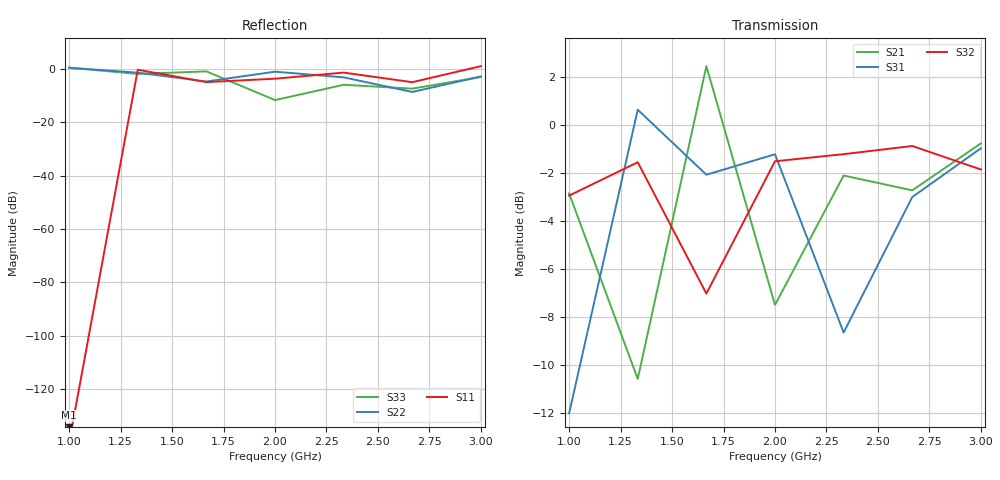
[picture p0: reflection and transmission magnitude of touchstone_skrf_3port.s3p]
! Created with skrf 1.9.0 (http://scikit-rf.org).
# Hz S RI R 50.0
!freq ReS11 ImS11 ReS12 ImS12 ReS13 ImS13
! ReS21 ImS21 ReS22 ImS22 ReS23 ImS23
! ReS31 ImS31 ReS32 ImS32 ReS33 ImS33
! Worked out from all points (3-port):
!   7 points, 1 GHz to 3 GHz, reference 50 ohm
!   strongest paths, dB at 1 GHz, 1.333 GHz, 2 GHz, 2.667 GHz, 3 GHz:
!     S32: -2.9, -1.5, -1.5, -0.9, -1.8
!     S31: -12.0, 0.6, -1.2, -3.0, -1.0
!     S21: -2.8, -10.6, -7.5, -2.7, -0.8
!   lowest |S11| = -140.0 dB at 1 GHz (marker M1), VSWR 1.00, Z = 50 - j2.5e-10 ohm
!   |S11| at or under -10 dB: start of sweep to 1.31 GHz
1e9  1e-07 -2.5e-12  -0.5264 0.8422  0 0
     0.1643 0.7018  -0.8117 -0.662  -0.1337 0.9287
     -0.0419 0.2474  -0.6805 0.2138  0.4692 0.9411
1.333333e9  -0.7727 0.5741  -0.2175 0.5798  0 0
            -0.1387 -0.2614  0.1736 -0.8302  0.4757 -0.6129
            0.9125 -0.5723  -0.4316 0.7173  0.2971 -0.7465
1.666667e9  0.3924 -0.4065  -0.4146 -0.0143  0 0
            0.9469 0.9305  -0.4032 0.4163  -0.372 -0.5726
            0.7834 0.09  0.1703 0.4119  -0.0574 -0.8962
2e9  0.5466 0.3598  -0.9393 -0.2634  0 0
     -0.2515 0.3391  -0.8183 0.3383  0.321 0.0461
     0.8629 0.1095  -0.5856 -0.6037  0.2602 -0.00963
2.333333e9  -0.4037 -0.7492  0.4835 -0.0385  0 0
            -0.5626 0.5482  0.6598 -0.2127  0.3153 -0.9608
            0.3656 0.0555  0.6402 -0.5895  -0.1429 0.4825
2.666667e9  0.5174 -0.2226  0.757 -0.2391  0 0
            0.6995 -0.2141  -0.2121 -0.3023  -0.0406 -0.304
            -0.7073 -0.0385  0.3969 -0.8134  -0.416 0.0935
3e9  0.7423 0.8429  -0.4493 0.1258  0 0
     -0.2007 0.8943  0.2258 0.6842  -0.6067 0.488
     -0.6394 0.6263  0.4937 0.6403  0.5044 -0.4925
